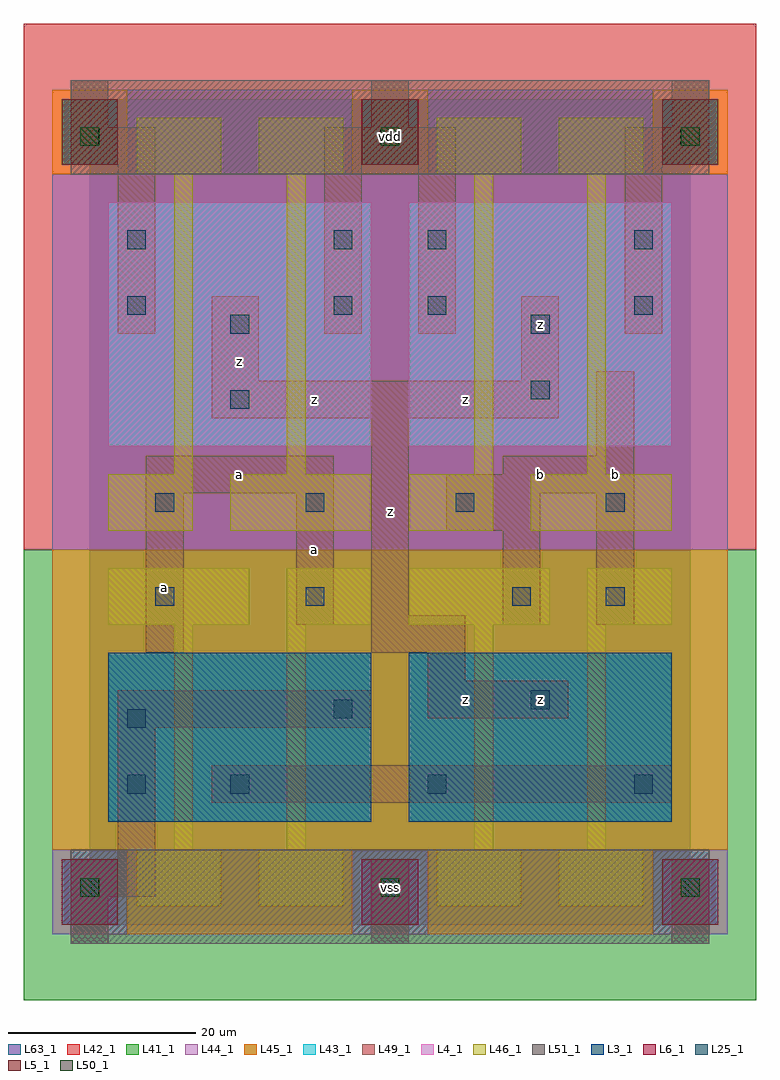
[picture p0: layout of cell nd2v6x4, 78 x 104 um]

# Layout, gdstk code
import gdstk
lib = gdstk.Library(unit=1e-6, precision=1e-09)
def R(c, l, rs):  # rectangles x0, y0, x1, y1
    for r in rs: c.add(gdstk.rectangle(r[:2], r[2:], *l))
def A(c, l, x, y, w, h, nx, ny, dx, dy):  # array of equal rectangles
    R(c, l, [(x+i*dx, y+j*dy, x+i*dx+w, y+j*dy+h) for i in range(nx) for j in range(ny)])
L3_1 = (3, 1)
L4_1 = (4, 1)
L5_1 = (5, 1)
L6_1 = (6, 1)
L25_1 = (25, 1)
L41_1 = (41, 1)
L42_1 = (42, 1)
L43_1 = (43, 1)
L44_1 = (44, 1)
L45_1 = (45, 1)
L46_1 = (46, 1)
L49_1 = (49, 1)
L50_1 = (50, 1)
L51_1 = (51, 1)
L63_1 = (63, 1)

nd2v6x4 = lib.new_cell('nd2v6x4')
R(nd2v6x4, L3_1, [(2,11,30,29), (34,11,62,29)])
R(nd2v6x4, L4_1, [(2,51,30,77), (34,51,62,77)])
A(nd2v6x4, L5_1, -3, 81, 6, 7, 3, 1, 32, 0)
R(nd2v6x4, L6_1, [(-3,0,3,7), (-3,0,3,7), (29,0,35,7), (29,0,35,7), (61,0,67,7), (61,0,67,7)])
A(nd2v6x4, L25_1, -1, 3, 2, 2, 3, 2, 32, 80)
A(nd2v6x4, L25_1, 7, 44, 2, 2, 4, 1, 16, 0)
R(nd2v6x4, L25_1, [(4,14,6,16), (15,14,17,16), (36,14,38,16), (58,14,60,16), (4,21,6,23), (26,22,28,24), (47,23,49,25), (7,34,9,36), (23,34,25,36), (45,34,47,36), (55,34,57,36), (15,55,17,57), (47,56,49,58), (15,63,17,65), (47,63,49,65), (4,65,6,67), (26,65,28,67), (36,65,38,67), (58,65,60,67), (4,72,6,74), (26,72,28,74), (36,72,38,74), (58,72,60,74)])
R(nd2v6x4, L41_1, [(-7,-8,71,40)])
R(nd2v6x4, L42_1, [(-7,40,71,96)])
A(nd2v6x4, L43_1, -3, 0, 6, 7, 3, 2, 32, 81)
R(nd2v6x4, L43_1, [(2,11,30,29), (34,11,62,29), (2,51,30,77), (34,51,62,77)])
A(nd2v6x4, L44_1, -4, -1, 8, 9, 3, 1, 32, 0)
R(nd2v6x4, L44_1, [(-4,40,68,80), (4,80,28,89), (36,80,60,89)])
A(nd2v6x4, L45_1, -4, 80, 8, 9, 3, 1, 32, 0)
R(nd2v6x4, L45_1, [(4,-1,28,8), (36,-1,60,8), (-4,8,68,40)])
R(nd2v6x4, L46_1, [(5,2,14,8), (18,2,27,8), (37,2,46,8), (50,2,59,8), (9,8,11,32), (21,8,23,32), (41,8,43,32), (53,8,55,32), (2,32,17,38), (21,32,30,38), (34,32,49,38), (53,32,62,38), (2,42,11,48), (15,42,30,48), (34,42,43,48), (47,42,62,48), (9,48,11,80), (21,48,23,80), (41,48,43,80), (53,48,55,80), (5,80,14,86), (18,80,27,86), (37,80,46,86), (50,80,59,86)])
A(nd2v6x4, L49_1, -2, 85, 4, 5, 3, 1, 32, 0)
R(nd2v6x4, L49_1, [(-2,-2,2,3), (30,-2,34,7), (62,-2,66,7), (-2,3,7,7), (3,7,7,21), (13,13,62,17), (3,21,30,25), (36,22,51,26), (36,26,40,29), (6,29,10,46), (30,29,40,33), (22,32,26,46), (44,32,48,42), (54,32,58,46), (30,33,34,54), (38,42,48,46), (6,46,26,50), (38,46,58,48), (44,48,58,50), (54,50,58,59), (13,54,50,58), (13,58,18,67), (46,58,50,67), (3,63,7,81), (25,63,29,81), (35,63,39,81), (57,63,61,81), (-2,81,7,85), (25,81,39,85), (57,81,66,85)])
A(nd2v6x4, L50_1, -1, 3, 2, 2, 3, 2, 32, 80)
R(nd2v6x4, L51_1, [(-2,-2,66,8), (-2,80,66,90)])
R(nd2v6x4, L63_1, [(0,0,64,88)])
nd2v6x4.add(gdstk.Label('a', (8,36), layer=49, texttype=1))
nd2v6x4.add(gdstk.Label('a', (16,48), layer=49, texttype=1))
nd2v6x4.add(gdstk.Label('z', (16,60), layer=49, texttype=1))
nd2v6x4.add(gdstk.Label('a', (24,40), layer=49, texttype=1))
nd2v6x4.add(gdstk.Label('z', (32,44), layer=49, texttype=1))
nd2v6x4.add(gdstk.Label('z', (24,56), layer=49, texttype=1))
nd2v6x4.add(gdstk.Label('z', (40,24), layer=49, texttype=1))
nd2v6x4.add(gdstk.Label('z', (48,24), layer=49, texttype=1))
nd2v6x4.add(gdstk.Label('b', (48,48), layer=49, texttype=1))
nd2v6x4.add(gdstk.Label('z', (40,56), layer=49, texttype=1))
nd2v6x4.add(gdstk.Label('z', (48,64), layer=49, texttype=1))
nd2v6x4.add(gdstk.Label('b', (56,48), layer=49, texttype=1))
nd2v6x4.add(gdstk.Label('vss', (32,4), layer=51, texttype=1))
nd2v6x4.add(gdstk.Label('vdd', (32,84), layer=51, texttype=1))

lib.write_gds('nd2v6x4.gds')
